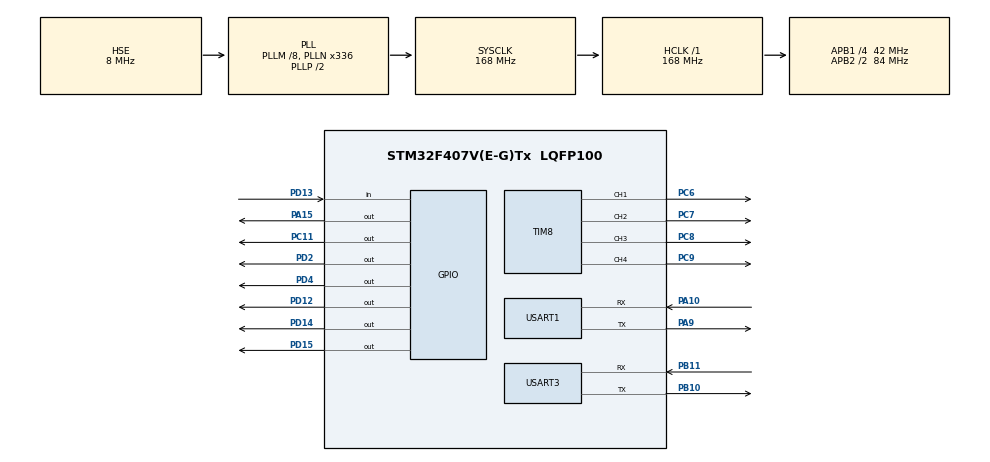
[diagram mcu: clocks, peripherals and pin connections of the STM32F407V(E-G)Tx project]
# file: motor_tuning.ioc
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Mcu.Family=STM32F4
Mcu.Name=STM32F407V(E-G)Tx
Mcu.Package=LQFP100
NVIC.PriorityGroup=NVIC_PRIORITYGROUP_4
PA10.Mode=Asynchronous
PA10.Signal=USART1_RX
PA13.Mode=Trace_Asynchronous_SW
PA13.Signal=SYS_JTMS-SWDIO
PA14.Mode=Trace_Asynchronous_SW
PA14.Signal=SYS_JTCK-SWCLK
PA15.GPIO_Speed=GPIO_SPEED_FREQ_VERY_HIGH
PA15.Signal=GPIO_Output
PA9.Mode=Asynchronous
PA9.Signal=USART1_TX
PB10.Mode=Asynchronous
PB10.Signal=USART3_TX
PB11.Mode=Asynchronous
PB11.Signal=USART3_RX
PB3.Mode=Trace_Asynchronous_SW
PB3.Signal=SYS_JTDO-SWO
PC11.GPIO_Speed=GPIO_SPEED_FREQ_VERY_HIGH
PC11.Signal=GPIO_Output
PC6.Signal=S_TIM8_CH1
PC7.Signal=S_TIM8_CH2
PC8.Signal=S_TIM8_CH3
PC9.Signal=S_TIM8_CH4
PD12.Signal=GPIO_Output
PD13.Signal=GPIO_Input
PD14.Signal=GPIO_Output
PD15.Signal=GPIO_Output
PD2.GPIO_Speed=GPIO_SPEED_FREQ_VERY_HIGH
PD2.Signal=GPIO_Output
PD4.GPIO_Speed=GPIO_SPEED_FREQ_VERY_HIGH
PD4.Signal=GPIO_Output
PH0-OSC_IN.Mode=HSE-External-Oscillator
PH0-OSC_IN.Signal=RCC_OSC_IN
PH1-OSC_OUT.Mode=HSE-External-Oscillator
PH1-OSC_OUT.Signal=RCC_OSC_OUT
ProjectManager.HeapSize=0x200
ProjectManager.StackSize=0x400
ProjectManager.TargetToolchain=Makefile
RCC.48MHZClocksFreq_Value=84000000
RCC.AHBFreq_Value=168000000
RCC.APB1CLKDivider=RCC_HCLK_DIV4
RCC.APB1Freq_Value=42000000
RCC.APB1TimFreq_Value=84000000
RCC.APB2CLKDivider=RCC_HCLK_DIV2
RCC.APB2Freq_Value=84000000
RCC.APB2TimFreq_Value=168000000
RCC.CortexFreq_Value=168000000
RCC.HCLKFreq_Value=168000000
RCC.HSE_VALUE=8000000
RCC.HSI_VALUE=16000000
RCC.LSE_VALUE=32768
RCC.PLLM=8
RCC.PLLN=336
RCC.PLLSourceVirtual=RCC_PLLSOURCE_HSE
RCC.SYSCLKFreq_VALUE=168000000
RCC.SYSCLKSource=RCC_SYSCLKSOURCE_PLLCLK
RCC.VCOOutputFreq_Value=336000000
SH.S_TIM8_CH1.0=TIM8_CH1,PWM Generation1 CH1
SH.S_TIM8_CH2.0=TIM8_CH2,PWM Generation2 CH2
SH.S_TIM8_CH3.0=TIM8_CH3,PWM Generation3 CH3
SH.S_TIM8_CH4.0=TIM8_CH4,PWM Generation4 CH4
TIM8.Channel-PWM\ Generation1\ CH1=TIM_CHANNEL_1
TIM8.Channel-PWM\ Generation2\ CH2=TIM_CHANNEL_2
TIM8.Channel-PWM\ Generation3\ CH3=TIM_CHANNEL_3
TIM8.Channel-PWM\ Generation4\ CH4=TIM_CHANNEL_4
USART1.VirtualMode=VM_ASYNC
USART3.VirtualMode=VM_ASYNC
board=custom

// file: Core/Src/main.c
/**
  ******************************************************************************
  * @file           : main.c
  * @brief          : Main program body
  ******************************************************************************
  ** This notice applies to any and all portions of this file
  * that are not between comment pairs USER CODE BEGIN and
  * USER CODE END. Other portions of this file, whether
  * inserted by the user or by software development tools
  * are owned by their respective copyright owners.
  *
  * COPYRIGHT(c) 2019 STMicroelectronics
  *
  * Redistribution and use in source and binary forms, with or without modification,
  * are permitted provided that the following conditions are met:
  *   1. Redistributions of source code must retain the above copyright notice,
  *      this list of conditions and the following disclaimer.
  *   2. Redistributions in binary form must reproduce the above copyright notice,
  *      this list of conditions and the following disclaimer in the documentation
  *      and/or other materials provided with the distribution.
  *   3. Neither the name of STMicroelectronics nor the names of its contributors
  *      may be used to endorse or promote products derived from this software
  *      without specific prior written permission.
  *
  * THIS SOFTWARE IS PROVIDED BY THE COPYRIGHT HOLDERS AND CONTRIBUTORS "AS IS"
  * AND ANY EXPRESS OR IMPLIED WARRANTIES, INCLUDING, BUT NOT LIMITED TO, THE
  * IMPLIED WARRANTIES OF MERCHANTABILITY AND FITNESS FOR A PARTICULAR PURPOSE ARE
  * DISCLAIMED. IN NO EVENT SHALL THE COPYRIGHT HOLDER OR CONTRIBUTORS BE LIABLE
  * FOR ANY DIRECT, INDIRECT, INCIDENTAL, SPECIAL, EXEMPLARY, OR CONSEQUENTIAL
  * DAMAGES (INCLUDING, BUT NOT LIMITED TO, PROCUREMENT OF SUBSTITUTE GOODS OR
  * SERVICES; LOSS OF USE, DATA, OR PROFITS; OR BUSINESS INTERRUPTION) HOWEVER
  * CAUSED AND ON ANY THEORY OF LIABILITY, WHETHER IN CONTRACT, STRICT LIABILITY,
  * OR TORT (INCLUDING NEGLIGENCE OR OTHERWISE) ARISING IN ANY WAY OUT OF THE USE
  * OF THIS SOFTWARE, EVEN IF ADVISED OF THE POSSIBILITY OF SUCH DAMAGE.
  *
  ******************************************************************************
  */
#include "main.h"
#include "stm32f4xx_hal.h"
#include "tim.h"
#include "usart.h"
#include "gpio.h"

/* USER CODE BEGIN Includes */
#include "robo_init.h"
#include "robot.h"
#include "drive.h"

/* USER CODE END Includes */

/* USER CODE BEGIN PV */

/* Private variables ---------------------------------------------------------*/

/* USER CODE END PV */

void SystemClock_Config(void);

/* USER CODE BEGIN PFP */
/* Private function prototypes -----------------------------------------------*/

/* USER CODE END PFP */

/* USER CODE BEGIN 0 */

struct __FILE{

int handle;
};

FILE __stdout;
FILE __stdin;

int fputc(int ch, FILE *f)
{
	ITM_SendChar(ch);
	return(ch);
}

/* USER CODE END 0 */

int main(void)
{
  /* USER CODE BEGIN 1 */
	/*			uint32_t update_tick = HAL_GetTick();
				uint32_t sample_time = 10L;
				struct Str_pid pid[3];
	      float p,i,d;
	  */
  /* USER CODE END 1 */

  /* MCU Configuration----------------------------------------------------------*/

  /* Reset of all peripherals, Initializes the Flash interface and the Systick. */
  HAL_Init();

  /* Configure the system clock */
  SystemClock_Config();

  /* Initialize all configured peripherals */
  MX_GPIO_Init();
  MX_TIM8_Init();
  MX_USART3_UART_Init();
  MX_USART1_UART_Init();
  /* USER CODE BEGIN 2 */

	//wheel_init();
        HAL_TIM_Base_Start(&htim8);
        HAL_TIM_PWM_Start(&htim8, TIM_CHANNEL_1);
	HAL_TIM_PWM_Start(&htim8, TIM_CHANNEL_2);

	//robot_speed(20000);

	//play();
  /* USER CODE END 2 */

  /* Infinite loop */
  /* USER CODE BEGIN WHILE */

	while (1)
        {
		HAL_GPIO_TogglePin(GPIOD, GPIO_PIN_13);
		HAL_Delay(1000);
  /* USER CODE END WHILE */

	}

}

void SystemClock_Config(void)
{

  RCC_OscInitTypeDef RCC_OscInitStruct;
  RCC_ClkInitTypeDef RCC_ClkInitStruct;

    /**Configure the main internal regulator output voltage
    */
  __HAL_RCC_PWR_CLK_ENABLE();

  __HAL_PWR_VOLTAGESCALING_CONFIG(PWR_REGULATOR_VOLTAGE_SCALE1);

    /**Initializes the CPU, AHB and APB busses clocks
    */
  RCC_OscInitStruct.OscillatorType = RCC_OSCILLATORTYPE_HSE;
  RCC_OscInitStruct.HSEState = RCC_HSE_ON;
  RCC_OscInitStruct.PLL.PLLState = RCC_PLL_ON;
  RCC_OscInitStruct.PLL.PLLSource = RCC_PLLSOURCE_HSE;
  RCC_OscInitStruct.PLL.PLLM = 8;
  RCC_OscInitStruct.PLL.PLLN = 336;
  RCC_OscInitStruct.PLL.PLLP = RCC_PLLP_DIV2;
  RCC_OscInitStruct.PLL.PLLQ = 4;
  if (HAL_RCC_OscConfig(&RCC_OscInitStruct) != HAL_OK)
  {
    _Error_Handler(__FILE__, __LINE__);
  }

    /**Initializes the CPU, AHB and APB busses clocks
    */
  RCC_ClkInitStruct.ClockType = RCC_CLOCKTYPE_HCLK|RCC_CLOCKTYPE_SYSCLK
                              |RCC_CLOCKTYPE_PCLK1|RCC_CLOCKTYPE_PCLK2;
  RCC_ClkInitStruct.SYSCLKSource = RCC_SYSCLKSOURCE_PLLCLK;
  RCC_ClkInitStruct.AHBCLKDivider = RCC_SYSCLK_DIV1;
  RCC_ClkInitStruct.APB1CLKDivider = RCC_HCLK_DIV4;
  RCC_ClkInitStruct.APB2CLKDivider = RCC_HCLK_DIV2;

  if (HAL_RCC_ClockConfig(&RCC_ClkInitStruct, FLASH_LATENCY_5) != HAL_OK)
  {
    _Error_Handler(__FILE__, __LINE__);
  }

    /**Configure the Systick interrupt time
    */
  HAL_SYSTICK_Config(HAL_RCC_GetHCLKFreq()/1000);

    /**Configure the Systick
    */
  HAL_SYSTICK_CLKSourceConfig(SYSTICK_CLKSOURCE_HCLK);

  /* SysTick_IRQn interrupt configuration */
  HAL_NVIC_SetPriority(SysTick_IRQn, 0, 0);
}

void _Error_Handler(char *file, int line)
{
        while (1)
        {
        }
}

/************************ (C) COPYRIGHT STMicroelectronics *****END OF FILE****/
